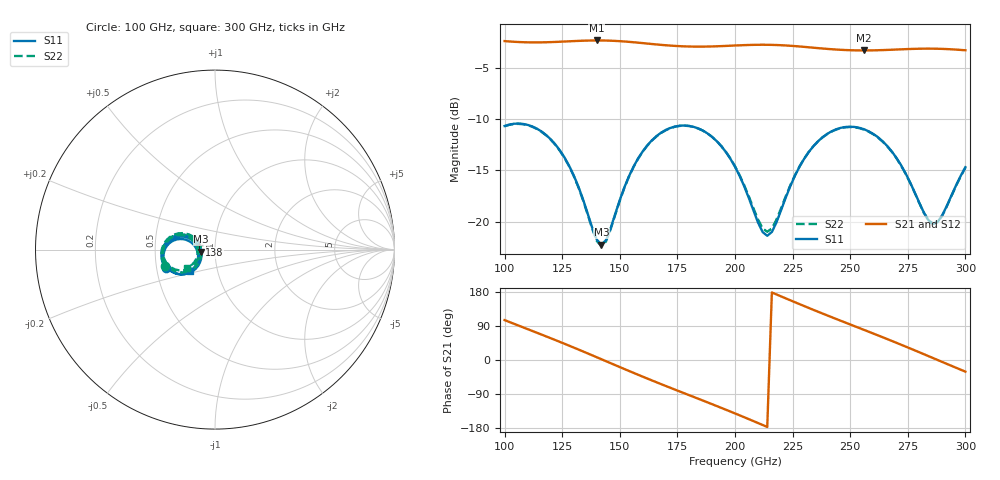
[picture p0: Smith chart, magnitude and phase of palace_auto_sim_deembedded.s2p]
! Created with skrf 1.11.0 (http://scikit-rf.org).
# GHz S DB R 50.0
!freq dBS11 angS11 dBS21 angS21 dBS12 angS12 dBS22 angS22
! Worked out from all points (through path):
!   101 points, 100 GHz to 300 GHz, reference 50 ohm
!   highest |S21| = -2.29 dB at 140 GHz (marker M1); lowest = -3.3 dB at 256 GHz (marker M2)
!   group delay of S21, straight-line fit = 6.89 ps
!   lowest |S11| = -22.3 dB at 142 GHz (marker M3), VSWR 1.17, Z = 42.9 - j0.957 ohm
!   |S11| at or under -10 dB: start of sweep to end of sweep
!   |S22| runs from -22.4 to -10.4 dB; largest |S21 - S12| = 1.3e-13
!   S11 on the Smith chart (normalised r, x): 100 GHz: 0.56, -0.13; 138 GHz: 0.83, +0.04; 300 GHz: 0.74, -0.18
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100  -10.65 -159.2  -2.36 105.3  -2.36 105.3  -10.68 -161.7
108  -10.45 -174.2  -2.46 86.2  -2.46 86.2  -10.48 -176.8
116  -11.19 171.5  -2.48 67.2  -2.48 67.2  -11.22 168.7
126  -13.73 156.5  -2.40 42.8  -2.40 42.8  -13.78 153.4
134  -17.80 153.7  -2.32 22.7  -2.32 22.7  -17.87 150.3
138  -20.58 163.4  -2.30 12.4  -2.30 12.4  -20.69 160.0
140  -21.75 174.1  -2.29 7.3  -2.29 7.3  -21.88 170.8
142  -22.26 -171.7  -2.30 2.1  -2.30 2.1  -22.40 -174.8
154  -15.55 -135.6  -2.43 -28.9  -2.43 -28.9  -15.59 -138.7
168  -11.30 -153.7  -2.73 -63.8  -2.73 -63.8  -11.32 -157.1
176  -10.62 -167.4  -2.85 -83.0  -2.85 -83.0  -10.64 -171.0
184  -10.88 179.0  -2.90 -102.1  -2.90 -102.1  -10.90 175.3
200  -14.64 157.3  -2.79 -141.0  -2.79 -141.0  -14.58 153.7
214  -21.38 -170.1  -2.72 -176.7  -2.72 -176.7  -20.99 -175.3
224  -16.54 -136.9  -2.81 157.6  -2.81 157.6  -16.45 -143.5
234  -12.63 -144.1  -3.00 132.4  -3.00 132.4  -12.64 -150.5
244  -10.97 -159.1  -3.18 108.1  -3.18 108.1  -10.99 -165.5
256  -10.97 -178.4  -3.27 79.5  -3.27 79.5  -11.01 175.1
268  -13.12 165.2  -3.20 50.5  -3.20 50.5  -13.16 158.4
278  -17.14 163.3  -3.11 25.5  -3.11 25.5  -17.18 156.3
286  -20.20 -170.1  -3.10 5.0  -3.10 5.0  -20.24 -177.3
300  -14.68 -139.3  -3.25 -30.7  -3.25 -30.7  -14.73 -146.8
